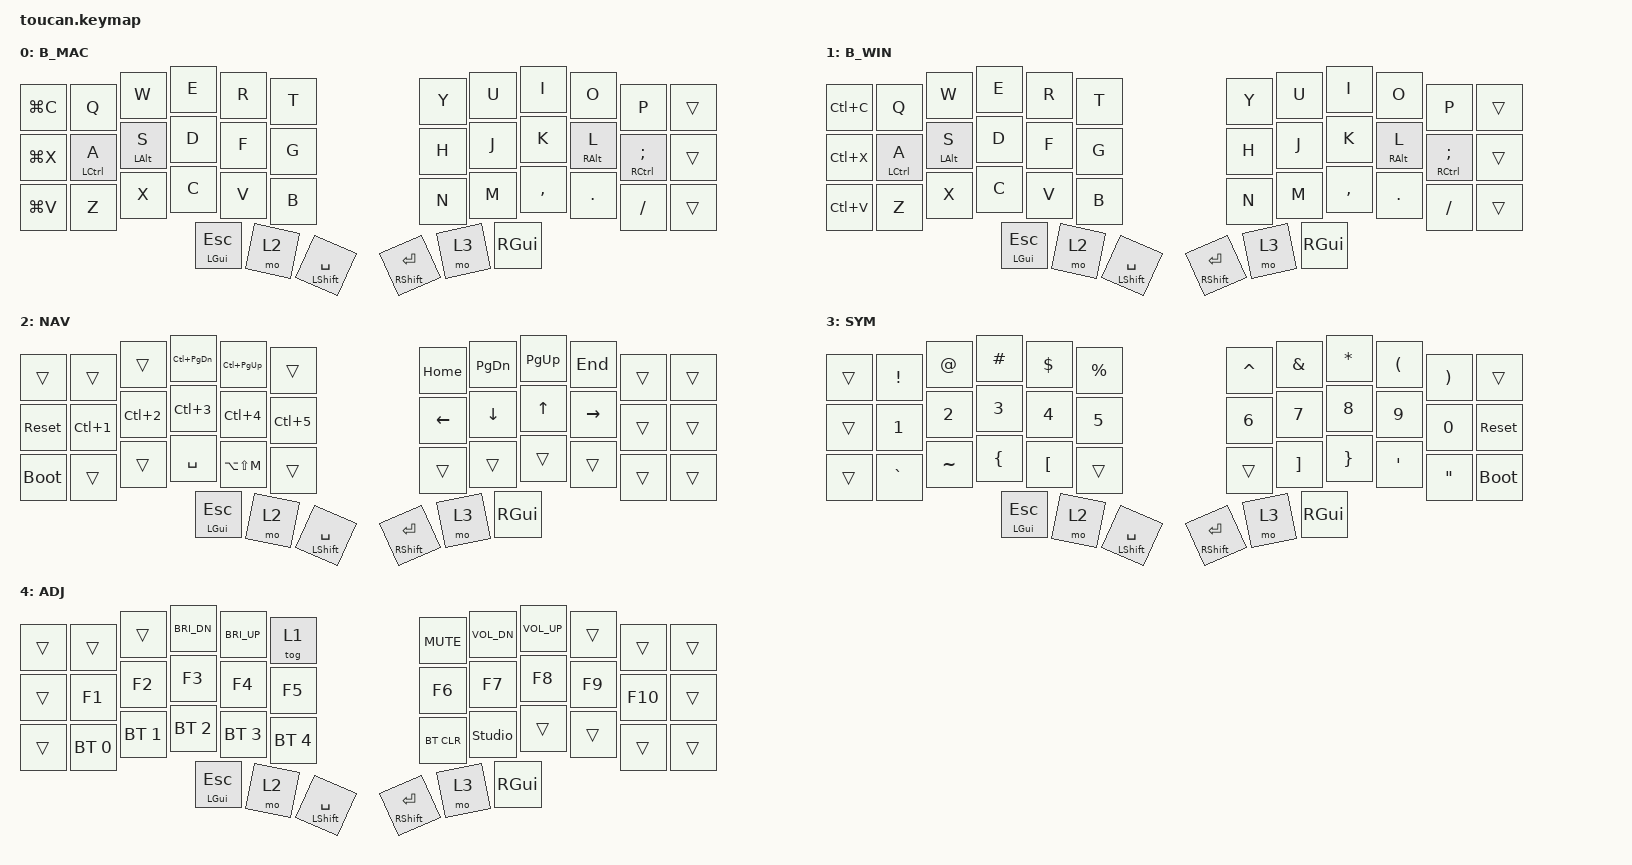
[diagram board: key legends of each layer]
#include <behaviors.dtsi>
#include <dt-bindings/zmk/bt.h>
#include <dt-bindings/zmk/keys.h>
#include <dt-bindings/zmk/pointing.h>

#define B_MAC  0
#define B_WIN  1
#define NAV    2
#define SYM    3
#define ADJ    4

/* 位置番号の配置: */
/*  0  1  2  3  4  5    6  7  8  9 10 11 */
/* 12 13 14 15 16 17   18 19 20 21 22 23 */
/* 24 25 26 27 28 29   30 31 32 33 34 35 */
/*          36 37 38   39 40 41 */
/*
  &kp (Key Press) //通常のキー押下
  &mo (Momentary Layer) //押している間だけレイヤーを切り替え
  &trans (Transparent) //キー透過（前レイヤーを採用）
  &bt (Bluetooth) //Bluetooth関連のキー
  &mt (Mod Tap) //修飾キーと通常キーの同時割り当て
  &lt (Layer Tap) //レイヤー切り替えと通常キーの同時割り当て
  &tog (Toggle Layer) //レイヤーのON/OFF切り替え
  */

/ {
    hmr_r: hmr_r {
        compatible = "zmk,behavior-hold-tap";
        label = "HMR_R";
        bindings = <&kp>, <&kp>;

        #binding-cells = <2>;
        tapping-term-ms = <200>;
        flavor = "balanced";
        hold-trigger-key-positions = <0 1 2 3 4 5 12 13 14 15 16 17 24 25 26 27 28 29 36 37 38>;
        hold-trigger-on-release;
        require-prior-idle-ms = <150>;
    };

    hmr_r2: hmr_r2 {
        compatible = "zmk,behavior-hold-tap";
        label = "HMR_R2";
        bindings = <&kp>, <&kp>;

        #binding-cells = <2>;
        tapping-term-ms = <200>;
        flavor = "balanced";
        hold-trigger-key-positions = <0 1 2 3 4 5 12 13 14 15 16 17 24 25 26 27 28 29 36 37 38>;
        hold-trigger-on-release;
        require-prior-idle-ms = <150>;
        hold-while-undecided;
    };

    hmr_l: hmr_l {
        compatible = "zmk,behavior-hold-tap";
        label = "HMR_L";
        bindings = <&kp>, <&kp>;

        #binding-cells = <2>;
        tapping-term-ms = <200>;
        flavor = "balanced";
        hold-trigger-key-positions = <6 7 8 9 10 11 18 19 20 21 22 23 30 31 32 33 34 35 39 40 41>;
        hold-trigger-on-release;
        require-prior-idle-ms = <150>;
    };

    hmr_l2: hmr_l2 {
        compatible = "zmk,behavior-hold-tap";
        label = "HMR_L2";
        bindings = <&kp>, <&kp>;

        #binding-cells = <2>;
        tapping-term-ms = <200>;
        flavor = "balanced";
        hold-trigger-key-positions = <6 7 8 9 10 11 18 19 20 21 22 23 30 31 32 33 34 35 39 40 41>;
        hold-trigger-on-release;
        require-prior-idle-ms = <150>;
        hold-while-undecided;
    };

    conditional_layers {
        compatible = "zmk,conditional-layers";

        tri_layer {
            if-layers = <2 3>;
            then-layer = <4>;
        };
    };

    combos {
        compatible = "zmk,combos";

        // Mouse Buttons
        combo_mouse_left {
            timeout-ms = <30>;
            key-positions = <4 16>;
            bindings = <&mkp MB1>;
        };

        combo_mouse_right {
            timeout-ms = <30>;
            key-positions = <5 17>;
            bindings = <&mkp MB2>;
        };

        // Symbol Keys
        combo_minus {
            timeout-ms = <30>;
            key-positions = <20 21>;
            bindings = <&kp MINUS>;
            layers = <B_MAC B_WIN>;
        };

        combo_equal {
            timeout-ms = <30>;
            key-positions = <8 9>;
            bindings = <&kp EQUAL>;
            layers = <B_MAC B_WIN>;
        };

        combo_backslash {
            timeout-ms = <30>;
            key-positions = <31 32>;
            bindings = <&kp BSLH>;
            layers = <B_MAC B_WIN>;
        };

        combo_f11 {
            timeout-ms = <30>;
            key-positions = <13 14>;
            bindings = <&kp F11>;
            layers = <4>;
        };

        combo_f12 {
            timeout-ms = <30>;
            key-positions = <15 16>;
            bindings = <&kp F12>;
            layers = <4>;
        };

        // arithmetic operators

        combo_num_plus {
            timeout-ms = <30>;
            key-positions = <3 4>;
            bindings = <&kp PLUS>;
            layers = <3>;
        };

        combo_num_minus {
            timeout-ms = <30>;
            key-positions = <15 16>;
            bindings = <&kp MINUS>;
            layers = <3>;
        };

        combo_num_asterisk {
            timeout-ms = <30>;
            key-positions = <7 8>;
            bindings = <&kp STAR>;
            layers = <3>;
        };

        combo_num_slash {
            timeout-ms = <30>;
            key-positions = <19 20>;
            bindings = <&kp FSLH>;
            layers = <3>;
        };

        combo_num_colon {
            timeout-ms = <30>;
            key-positions = <20 21>;
            bindings = <&kp COLON>;
            layers = <3>;
        };

        combo_TAB {
            timeout-ms = <30>;
            key-positions = <14 15>;
            bindings = <&kp TAB>;
        };

        combo_DEL {
            timeout-ms = <30>;
            key-positions = <15 16>;
            bindings = <&kp DEL>;
        };

        combo_BSPC {
            timeout-ms = <30>;
            key-positions = <18 19>;
            bindings = <&kp BSPC>;
        };

        combo_LANG2 {
            timeout-ms = <30>;
            key-positions = <14 16>;
            bindings = <&kp LANG2>;
        };

        combo_LANG1 {
            timeout-ms = <30>;
            key-positions = <19 21>;
            bindings = <&kp LANG1>;
        };

        combo_LEADER {
            timeout-ms = <30>;
            key-positions = <7 19>;
            bindings = <&kp LC(J)>;
        };

        // Mac Only
        combo_mac {
            timeout-ms = <30>;
            key-positions = <3 4 5>;
            bindings = <&kp LG(LS(N4))>;
            layers = <B_MAC>;
        };

        // Windows Only
        combo_win {
            timeout-ms = <30>;
            key-positions = <3 4 5>;
            bindings = <&kp LG(LS(S))>;
            layers = <B_WIN>;
        };

        // Shift + Option + Command + Backslash
        combo_sht_opt_cmd_bslash {
            timeout-ms = <30>;
            key-positions = <6 7 8>;
            bindings = <&kp LG(LA(LS(BSLH)))>;
            layers = <B_MAC>;
        };
    };

    keymap {
        compatible = "zmk,keymap";

        b_mac {
            display-name = "B_MAC";
            bindings = <
                &kp LG(C)  &kp Q  &kp W  &kp E  &kp R  &kp T      &kp Y  &kp U  &kp I  &kp O  &kp P  &trans
 &kp LG(X) &hmr_r2 LCTRL A &hmr_l LALT S &kp D  &kp F  &kp G      &kp H  &kp J  &kp K  &hmr_r RALT L &hmr_r2 RCTRL SEMI &trans
                &kp LG(V)  &kp Z  &kp X  &kp C  &kp V  &kp B      &kp N  &kp M  &kp COMMA  &kp DOT  &kp FSLH  &trans
                         &mt LGUI ESC  &mo 2 &mt LSHFT SPACE      &mt RSHFT RET  &mo 3 &kp RGUI
            >;
        };

        b_win {
            display-name = "B_WIN";
            bindings = <
                 &kp LC(C) &kp Q  &kp W  &kp E  &kp R  &kp T        &kp Y  &kp U  &kp I  &kp O  &kp P  &trans
 &kp LC(X) &hmr_r2 LCTRL A &hmr_l LALT S &kp D  &kp F  &kp G        &kp H  &kp J  &kp K  &hmr_r RALT L  &hmr_r2 RCTRL SEMI &trans
                &kp LC(V)  &kp Z  &kp X  &kp C  &kp V  &kp B        &kp N  &kp M  &kp COMMA  &kp DOT  &kp FSLH  &trans
                         &mt LGUI ESC  &mo 2 &mt LSHFT SPACE        &mt RSHFT RET  &mo 3 &kp RGUI
            >;
        };

        nav {
            display-name = "NAV";
            bindings = <
&trans  &trans  &trans  &kp LC(PG_DN)  &kp LC(PG_UP)  &trans          &kp HOME  &kp PG_DN  &kp PG_UP  &kp END  &trans  &trans
&sys_reset  &kp LC(N1) &kp LC(N2) &kp LC(N3) &kp LC(N4) &kp LC(N5)    &kp LEFT  &kp DOWN  &kp UP  &kp RIGHT  &trans  &trans
   &bootloader  &trans  &trans  &kp SPACE  &kp LA(LS(M))  &trans      &trans  &trans  &trans  &trans  &trans  &trans
                         &mt LGUI ESC  &mo 2 &mt LSHFT SPACE          &mt RSHFT RET  &mo 3 &kp RGUI
            >;
        };

        sym {
            display-name = "SYM";
            bindings = <
&trans  &kp EXCL  &kp AT  &kp HASH  &kp DLLR  &kp PRCNT     &kp CARET  &kp AMPS  &kp STAR  &kp LPAR  &kp RPAR  &trans
        &trans  &kp N1  &kp N2  &kp N3  &kp N4   &kp N5     &kp N6  &kp N7  &kp N8  &kp N9  &kp N0  &sys_reset
&trans  &kp GRAVE  &kp TILDE  &kp LBRC  &kp LBKT &trans     &trans &kp RBKT  &kp RBRC  &kp SQT  &kp DQT  &bootloader
                    &mt LGUI ESC  &mo 2 &mt LSHFT SPACE     &mt RSHFT RET  &mo 3 &kp RGUI
            >;
        };

        adj {
            display-name = "ADJ";
            bindings = <
                 &trans  &trans  &trans  &kp C_BRI_DN  &kp C_BRI_UP  &tog 1      &kp C_MUTE  &kp C_VOL_DN  &kp C_VOL_UP  &trans  &trans  &trans
                             &trans  &kp F1  &kp F2  &kp F3  &kp F4  &kp F5      &kp F6  &kp F7  &kp F8  &kp F9  &kp F10  &trans
&trans &bt BT_SEL 0  &bt BT_SEL 1  &bt BT_SEL 2  &bt BT_SEL 3  &bt BT_SEL 4      &bt BT_CLR  &studio_unlock  &trans  &trans  &trans  &trans
                                        &mt LGUI ESC  &mo 2 &mt LSHFT SPACE      &mt RSHFT RET  &mo 3 &kp RGUI
            >;
        };

        extra_2 { status = "reserved"; };

        extra_1 { status = "reserved"; };
    };
};
